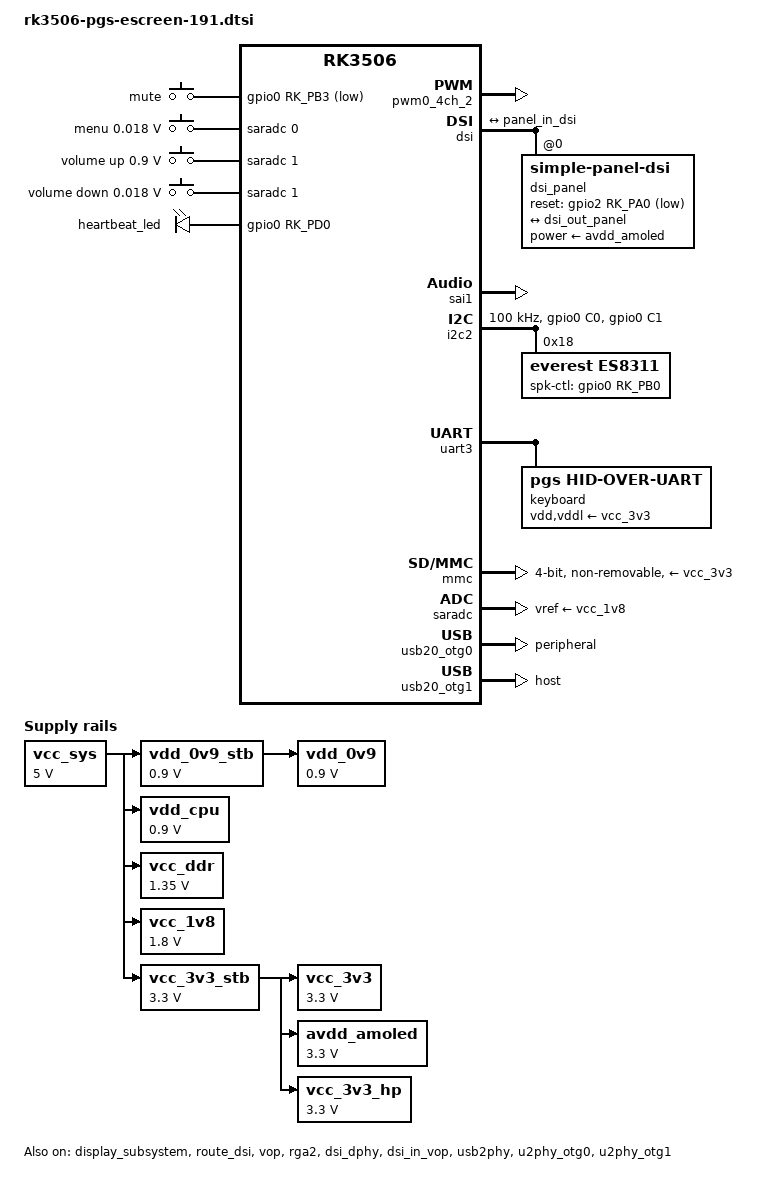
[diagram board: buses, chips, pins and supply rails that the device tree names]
// SPDX-License-Identifier: (GPL-2.0+ OR MIT)
/*
 * Copyright (c) 2024 Rockchip Electronics Co., Ltd.
 */

/dts-v1/;

#include <dt-bindings/display/media-bus-format.h>
#include <dt-bindings/pinctrl/rockchip.h>
#include <dt-bindings/display/drm_mipi_dsi.h>
#include <dt-bindings/display/rockchip_vop.h>
#include <dt-bindings/input/rk-input.h>
#include <dt-bindings/sensor-dev.h>
#include <dt-bindings/suspend/rockchip-rk3506.h>
#include "rk3506.dtsi"

/ {
	es8311_sound: es8311-sound {
		status = "okay";
		compatible = "simple-audio-card";
		simple-audio-card,format = "i2s";
		simple-audio-card,mclk-fs = <256>;
		simple-audio-card,name = "rockchip-es8311";
		simple-audio-card,cpu {
			sound-dai = <&sai1>;
		};
		simple-audio-card,codec {
			sound-dai = <&es8311>;
		};
    };  

	gpio-keys {
		compatible = "gpio-keys";
		status = "okay";
		pinctrl-names = "default";
		pinctrl-0 = <&mute_key_pin>;

		mute-key {
			gpios = <&gpio0 RK_PB3 GPIO_ACTIVE_LOW>;
			linux,code = <KEY_MUTE>;
			label = "mute";
			linux,input-type = <1>;
			wakeup-source;
			debounce-interval = <100>;
		};
	};

	adc-keys0 {
        compatible = "adc-keys";
        io-channels = <&saradc 0>;
        io-channel-names = "buttons";
        keyup-threshold-microvolt = <1800000>;
        status = "okay";
		poll-interval = <100>;

        menu-key {
            linux,code = <KEY_MENU>;
            label = "menu";
            press-threshold-microvolt = <18000>;
        };
    };

    adc-keys1 {
        compatible = "adc-keys";
        io-channels = <&saradc 1>;
        io-channel-names = "buttons";
        keyup-threshold-microvolt = <1800000>;
        status = "okay";
		poll-interval = <100>;

        volumeup-key {
            linux,code = <KEY_VOLUMEUP>;
            label = "volume up";
            press-threshold-microvolt = <900000>;
        };

        volumedown-key {
            linux,code = <KEY_VOLUMEDOWN>;
            label = "volume down";
            press-threshold-microvolt = <18000>;
        };
    };

	fiq_debugger: fiq-debugger {
		compatible = "rockchip,fiq-debugger";
		rockchip,serial-id = <0>;
		rockchip,wake-irq = <0>;
		rockchip,irq-mode-enable = <1>;
		rockchip,baudrate = <1500000>;	/* Only 115200 and 1500000 */
		interrupts = <GIC_SPI 115 IRQ_TYPE_LEVEL_HIGH>;
	};

	leds: leds {
		compatible = "gpio-leds";
		heartbeat_led: heartbeat-led {
			default-state = "on";
			gpios = <&gpio0 RK_PD0 GPIO_ACTIVE_HIGH>;
			linux,default-trigger = "heartbeat";
		};
	};

	vcc_sys: vcc-sys {
		compatible = "regulator-fixed";
		regulator-name = "vcc_sys";
		regulator-always-on;
		regulator-boot-on;
		regulator-min-microvolt = <5000000>;
		regulator-max-microvolt = <5000000>;
	};

	vdd_0v9_stb: vdd-0v9-stb {
		compatible = "regulator-fixed";
		regulator-name = "vdd_0v9_stb";
		regulator-always-on;
		regulator-boot-on;
		regulator-min-microvolt = <900000>;
		regulator-max-microvolt = <900000>;
		vin-supply = <&vcc_sys>;
	};

	vdd_0v9: vdd-0v9 {
		compatible = "regulator-fixed";
		regulator-name = "vdd_0v9";
		regulator-always-on;
		regulator-boot-on;
		regulator-min-microvolt = <900000>;
		regulator-max-microvolt = <900000>;
		vin-supply = <&vdd_0v9_stb>;
	};

	vdd_cpu: vdd-cpu {
		compatible = "regulator-fixed";
		regulator-name = "vdd_cpu";
		regulator-boot-on;
		regulator-always-on;
		regulator-min-microvolt = <900000>;
		regulator-max-microvolt = <900000>;
		vin-supply = <&vcc_sys>;
	};

	vcc_ddr: vcc-ddr {
		compatible = "regulator-fixed";
		regulator-name = "vcc_ddr";
		regulator-always-on;
		regulator-boot-on;
		regulator-min-microvolt = <1350000>;
		regulator-max-microvolt = <1350000>;
		vin-supply = <&vcc_sys>;
	};

	vcc_1v8: vcc-1v8 {
		compatible = "regulator-fixed";
		regulator-name = "vcc_1v8";
		regulator-always-on;
		regulator-boot-on;
		regulator-min-microvolt = <1800000>;
		regulator-max-microvolt = <1800000>;
		vin-supply = <&vcc_sys>;
	};

	vcc_3v3_stb: vcc-3v3-stb {
		compatible = "regulator-fixed";
		regulator-name = "vcc_3v3_stb";
		regulator-always-on;
		regulator-boot-on;
		regulator-min-microvolt = <3300000>;
		regulator-max-microvolt = <3300000>;
		vin-supply = <&vcc_sys>;
	};

	vcc_3v3: vcc-3v3 {
		compatible = "regulator-fixed";
		regulator-name = "vcc_3v3";
		regulator-always-on;
		regulator-boot-on;
		regulator-min-microvolt = <3300000>;
		regulator-max-microvolt = <3300000>;
		vin-supply = <&vcc_3v3_stb>;
	};

	avdd_amoled: avdd-amoled {
		compatible = "regulator-fixed";
		regulator-name = "avdd_amoled";
		regulator-always-on;
		regulator-boot-on;
		regulator-min-microvolt = <3300000>;
		regulator-max-microvolt = <3300000>;
		vin-supply = <&vcc_3v3_stb>;
	};

	vcc_3v3_hp: vcc-3v3-hp {
		compatible = "regulator-fixed";
		regulator-name = "vcc_3v3_hp";
		regulator-always-on;
		regulator-boot-on;
		regulator-min-microvolt = <3300000>;
		regulator-max-microvolt = <3300000>;
		vin-supply = <&vcc_3v3_stb>;
	};
};

/**********cpu**********/
&cpu0 {
	cpu-supply = <&vdd_cpu>;
	status = "okay";
};

/**********display**********/
&cma {
	size = <0x2000000>;
};

&display_subsystem {
	logo-memory-region = <&drm_logo>;
	status = "okay";
};

&route_dsi{
	status = "okay";
};

&vop {
	status = "okay";
};

&rga2 {
	status = "okay";
};

&dsi_dphy {
	status = "okay";
};

&dsi_in_vop {
	status = "okay";
};

&pwm0_4ch_2 {
	pinctrl-names = "active";
	pinctrl-0 = <&rm_io20_pwm0_ch2>;
	status = "okay";
};

&dsi {
	status = "okay";

	dsi_panel: panel@0 {
		status = "okay";
		compatible = "simple-panel-dsi";
		reg = <0>;
		power-supply = <&avdd_amoled>;
		pinctrl-names = "default";
		pinctrl-0 = <&dsi_panel_reset>;

		reset-gpios = <&gpio2 RK_PA0 GPIO_ACTIVE_LOW>;

		prepare-delay-ms = <20>;
		reset-delay-ms = <1>;
		init-delay-ms = <20>;
		enable-delay-ms = <10>;
		disable-delay-ms = <10>;
		unprepare-delay-ms = <20>;

		bus-format = <MEDIA_BUS_FMT_RGB888_1X24>;
		dsi,flags = <(MIPI_DSI_MODE_VIDEO | MIPI_DSI_MODE_VIDEO_BURST | MIPI_DSI_MODE_LPM | MIPI_DSI_MODE_NO_EOT_PACKET )>;
		dsi,format = <MIPI_DSI_FMT_RGB888>;
		dsi,lanes  = <1>;
		width-mm = <20>;
		height-mm = <44>;

		panel-init-sequence = [
			15 00 02 FE 04
			15 00 02 6A 00
			15 00 02 FE 05
			15 00 02 05 00
			15 00 02 FE 07
			15 00 02 07 4F
			15 00 02 FE 01
			15 00 02 2A 02
			15 00 02 2B 73
			15 00 02 FE 0A
			15 00 02 29 10
			15 00 02 FE 00
			15 00 02 C2 03
			15 00 02 35 00
			15 00 02 36 00
			15 00 02 3A 77
			15 00 02 51 00
			05 14 01 11
			05 14 01 29
			15 02 02 51 90
		];

		panel-exit-sequence = [
			05 14 01 28
			05 78 01 10
		];

		disp_timings0: display-timings {
			native-mode = <&dsi_timing0>;

			dsi_timing0: timing0 {
				clock-frequency = <11200000>;

				hactive = <240>;
				vactive = <536>;

				vsync-len = <8>;
				vback-porch = <15>;
				vfront-porch = <24>;
				
				hsync-len = <20>;
				hback-porch = <40>;
				hfront-porch = <20>;

				vsync-active = <0>;
				hsync-active = <0>;
				de-active = <0>;
				pixelclk-active = <0>;
			};
		};

		ports {
			#address-cells = <1>;
			#size-cells = <0>;

			port@0 {
				reg = <0>;
				panel_in_dsi: endpoint {
					remote-endpoint = <&dsi_out_panel>;
				};
			};
		};
	};

	ports {
		#address-cells = <1>;
		#size-cells = <0>;

		port@1 {
			reg = <1>;
			dsi_out_panel: endpoint {
				remote-endpoint = <&panel_in_dsi>;
			};
		};
	};

};

/**********audio**********/

&sai1 {
	status = "okay";
	pinctrl-names = "default";
	pinctrl-0 = < &rm_io12_sai1_sclk
				  &rm_io13_sai1_sdi
				  &rm_io14_sai1_lrck
				  &rm_io15_sai1_sdo0>;
};

&i2c2{
	status = "okay";
	pinctrl-names = "default";
	pinctrl-0 = <&rm_io16_i2c2_scl &rm_io17_i2c2_sda>;
	clock-frequency = <100000>;

	es8311: es8311@18 {
		status = "okay";
		#sound-dai-cells = <0>;
		compatible = "everest,es8311";
		reg = <0x18>;

		clocks = <&mclkout_sai1>;
        clock-names = "mclk";
		assigned-clocks = <&mclkout_sai1>;
        assigned-clock-rates = <12288000>; 

		adc-pga-gain = <6>;  /* 18dB */
		adc-volume = <0xa7>;  /* -12dB */
		dac-volume = <0xa7>;  /* -12dB */
		aec-mode = "dac left, adc right";

		spk-ctl-gpios = <&gpio0 RK_PB0 GPIO_ACTIVE_HIGH>;

		pinctrl-names = "default";
		pinctrl-0 = <&spk_ctrl>;
	};
};

&uart3 {
	status = "okay";
	pinctrl-names = "default";
	pinctrl-0 = <&rm_io3_uart3_tx &rm_io6_uart3_rx>;
	dma-names = "tx", "rx";

	keyboard {
		compatible = "pgs,hid-over-uart";
		status = "okay";
		hid-descr-addr = <0x0001>;
		baudrate = <1000000>;
		post-power-on-delay-ms = <5>;
		vdd-supply = <&vcc_3v3>;
		vddl-supply = <&vcc_3v3>;
	};
};

&pinctrl {
	speaker {
		spk_ctrl: spk-ctrl {
			rockchip,pins = 
				<0 RK_PB0 RK_FUNC_GPIO &pcfg_pull_none>;
		};
	};

	keys {
		mute_key_pin: mute-key-pin {
			rockchip,pins =
				<0 RK_PB3 RK_FUNC_GPIO &pcfg_pull_up>;
		};
	};

	dsi-panel {
		dsi_panel_reset: dsi-panel-reset {
			rockchip,pins =
			 	<2 RK_PA0 RK_FUNC_GPIO &pcfg_pull_none>;
		};
	};

	rm_io16 {
		rm_io16_i2c2_scl: rm-io16-i2c2-scl {
			rockchip,pins =
				<0 RK_PC0 34 &pcfg_pull_up>;
		};
	};

	rm_io17 {
		rm_io17_i2c2_sda: rm-io17-i2c2-sda {
			rockchip,pins =
				<0 RK_PC1 35 &pcfg_pull_up>;
		};
	};
};

/**********media**********/
&mmc{
	/* For eMMC */
	max-frequency = <200000000>;
	mmc-hs200-1_8v;
	mmc-ddr-1_8v;
	bus-width = <4>;
	non-removable;
	supports-emmc;
	cap-mmc-highspeed;
	disable-wp;
	no-sdio;
	no-sd;
	pinctrl-names = "default";
	pinctrl-0 = <&sdmmc_clk_pins &sdmmc_cmd_pins &sdmmc_bus4_pins>;
	vqmmc-supply = <&vcc_1v8>;
	vmmc-supply = <&vcc_3v3>;
	status = "okay"; 
};

/**********adc**********/
&saradc {
	vref-supply = <&vcc_1v8>;
	status = "okay";
};

&tsadc {
	status = "disabled";
};

/**********usb**********/
&usb20_otg0 {
	dr_mode = "peripheral";
	/* vbus-supply = <&vcc5v0_otg0>;
	rockchip,gpio-vbus-det; */
	status = "okay";
};

&usb20_otg1 {
	dr_mode = "host";
	status = "okay";
};

&usb2phy {
	/* extcon = <&extcon_usb>; */
	status = "okay";
};

&u2phy_otg0 {
	status = "okay";
};

&u2phy_otg1 {
	status = "okay";
};

